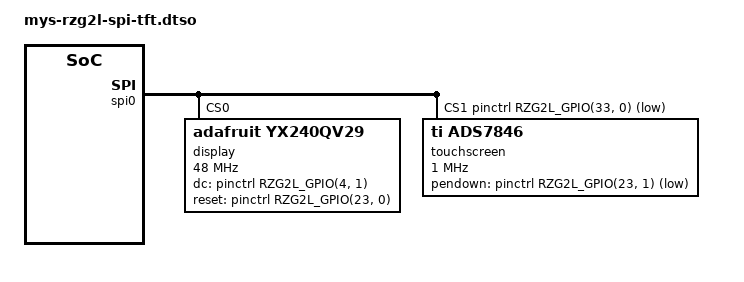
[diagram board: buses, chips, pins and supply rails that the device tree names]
// SPDX-License-Identifier: (GPL-2.0-only OR BSD-2-Clause)
/*
 * Optional Device Tree overlay for the MYiR Remi Pi SPI TFT add-on.
 *
 * SPI0 drives:
 *   - an ILI9341 320x240 panel on native chip-select 0;
 *   - an ADS7846 resistive touchscreen controller on GPIO chip-select 1.
 *
 * This overlay is intentionally not listed in the Renesas DTB Makefile.  Build
 * it explicitly and apply it to a symbol-enabled Remi Pi base DTB when the
 * optional display/touch hardware is fitted.
 */

/dts-v1/;
/plugin/;

#include <dt-bindings/gpio/gpio.h>
#include <dt-bindings/pinctrl/rzg2l-pinctrl.h>

&pinctrl {
	spi0_tft_pins: spi0-tft {
		pinmux = <RZG2L_PORT_PINMUX(47, 0, 5)>,
			 <RZG2L_PORT_PINMUX(47, 1, 5)>,
			 <RZG2L_PORT_PINMUX(47, 2, 5)>,
			 <RZG2L_PORT_PINMUX(47, 3, 5)>;
	};
};

&spi0 {
	pinctrl-0 = <&spi0_tft_pins>;
	pinctrl-names = "default";
	num-cs = <2>;
	/* CS0: native RSPI SSL (panel); CS1: GPIO, active-low (touch). */
	cs-gpios = <0>, <&pinctrl RZG2L_GPIO(33, 0) GPIO_ACTIVE_LOW>;
	status = "okay";

	#address-cells = <1>;
	#size-cells = <0>;

	display@0 {
		compatible = "adafruit,yx240qv29", "ilitek,ili9341";
		reg = <0>;
		/* ILI9341 spec maxes at 10 MHz; kept at the vendor's 48 MHz. */
		spi-max-frequency = <48000000>;
		dc-gpios = <&pinctrl RZG2L_GPIO(4, 1) GPIO_ACTIVE_HIGH>;
		reset-gpios = <&pinctrl RZG2L_GPIO(23, 0) GPIO_ACTIVE_HIGH>;
		rotation = <270>;
	};

	touchscreen@1 {
		compatible = "ti,ads7846";
		reg = <1>;
		spi-max-frequency = <1000000>;
		/* The driver derives the pen-down IRQ from this GPIO. */
		pendown-gpio = <&pinctrl RZG2L_GPIO(23, 1) GPIO_ACTIVE_LOW>;

		ti,x-min = /bits/ 16 <0>;
		ti,y-min = /bits/ 16 <0>;
		ti,x-max = /bits/ 16 <0x0fff>;
		ti,y-max = /bits/ 16 <0x0fff>;
		ti,pressure-min = /bits/ 16 <0>;
		ti,pressure-max = /bits/ 16 <0xffff>;
		ti,x-plate-ohms = /bits/ 16 <400>;

		touchscreen-swapped-x-y;
	};
};
